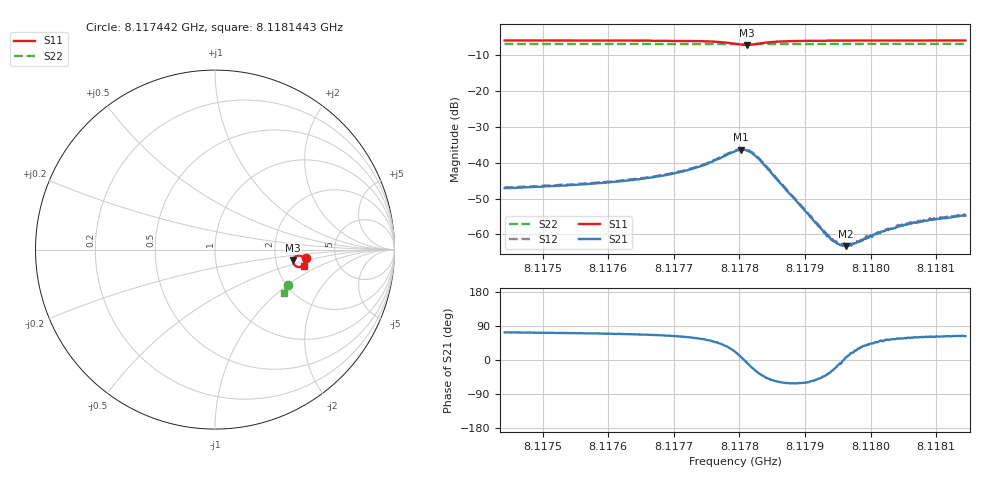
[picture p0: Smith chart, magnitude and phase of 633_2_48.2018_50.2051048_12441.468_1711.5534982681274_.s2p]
#  HZ  S  RI  R  50.00
! Rohde & Schwarz Vector Network Analyzer
! Rohde-Schwarz,ZNB20-2Port,1311601062101988,3.16
! Created: UTC 3/20/2024, 12:04:30 PM
! freq[Hz]  re:S11  im:S11  re:S21  im:S21  re:S12  im:S12  re:S22  im:S22
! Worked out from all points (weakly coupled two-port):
!   401 points, 8.117442 GHz to 8.1181443 GHz, reference 50 ohm
!   highest |S21| = -36.36 dB at 8.1178019 GHz (marker M1); lowest = -63.3 dB at 8.1179617 GHz (marker M2)
!   lowest |S11| = -7.1 dB at 8.1178107 GHz (marker M3), VSWR 2.57, Z = 125 - j18.6 ohm
!   |S11| at or under -10 dB: nowhere
!   |S22| runs from -6.9 to -6.8 dB; largest |S21 - S12| = 0.00052
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8.11744199e9  0.5044 -0.0495  0.0013 0.00421  0.00135 0.00432  0.4071 -0.1974
8.11755963e9  0.5026 -0.0609  0.00167 0.00473  0.00172 0.0048  0.4038 -0.2051
8.11762285e9  0.5008 -0.0681  0.00202 0.00517  0.00209 0.0053  0.4017 -0.2092
8.11767728e9  0.4976 -0.0759  0.0027 0.00589  0.00277 0.006  0.4 -0.2129
8.11773347e9  0.4898 -0.0874  0.00456 0.0072  0.0047 0.00733  0.3978 -0.2165
8.11779317e9  0.4465 -0.0899  0.0134 0.00542  0.0136 0.00552  0.3942 -0.2197
8.11780195e9  0.4372 -0.0775  0.015 0.00223  0.0152 0.00232  0.3937 -0.2195
8.11781073e9  0.435 -0.06  0.0147 -0.00152  0.0152 -0.00163  0.3935 -0.2193
8.11781951e9  0.4424 -0.044  0.0126 -0.00486  0.013 -0.00493  0.3937 -0.2193
8.1178318e9  0.4606 -0.0337  0.00846 -0.00656  0.00866 -0.0068  0.3943 -0.2196
8.11786165e9  0.4882 -0.0413  0.00274 -0.00444  0.0028 -0.00459  0.3945 -0.222
8.11791081e9  0.4985 -0.058  0.000935 -0.00136  0.000931 -0.00141  0.3932 -0.2259
8.11793013e9  0.4995 -0.0625  0.00076 -0.000696  0.000803 -0.000724  0.3926 -0.2273
8.11794418e9  0.4999 -0.0652  0.000733 -0.000315  0.000722 -0.000345  0.3921 -0.2281
8.11795296e9  0.5001 -0.0666  0.000705 -0.000108  0.000739 -0.000137  0.3919 -0.2288
8.11796174e9  0.5002 -0.0682  0.000681 7.15e-05  0.00072 4.76e-05  0.3916 -0.2294
8.11797227e9  0.5002 -0.0699  0.000697 0.000244  0.000711 0.000241  0.3913 -0.23
8.11799685e9  0.5003 -0.0735  0.000692 0.000582  0.000677 0.0006  0.3903 -0.2315
8.11802846e9  0.4999 -0.0774  0.000697 0.000947  0.000688 0.000956  0.3893 -0.2337
8.11804426e9  0.4998 -0.079  0.000707 0.00109  0.000726 0.00109  0.3888 -0.2346
8.11807236e9  0.4995 -0.082  0.000756 0.00129  0.000768 0.00133  0.3879 -0.2365
8.11814435e9  0.4986 -0.0891  0.00083 0.00162  0.000813 0.00165  0.3854 -0.2409
